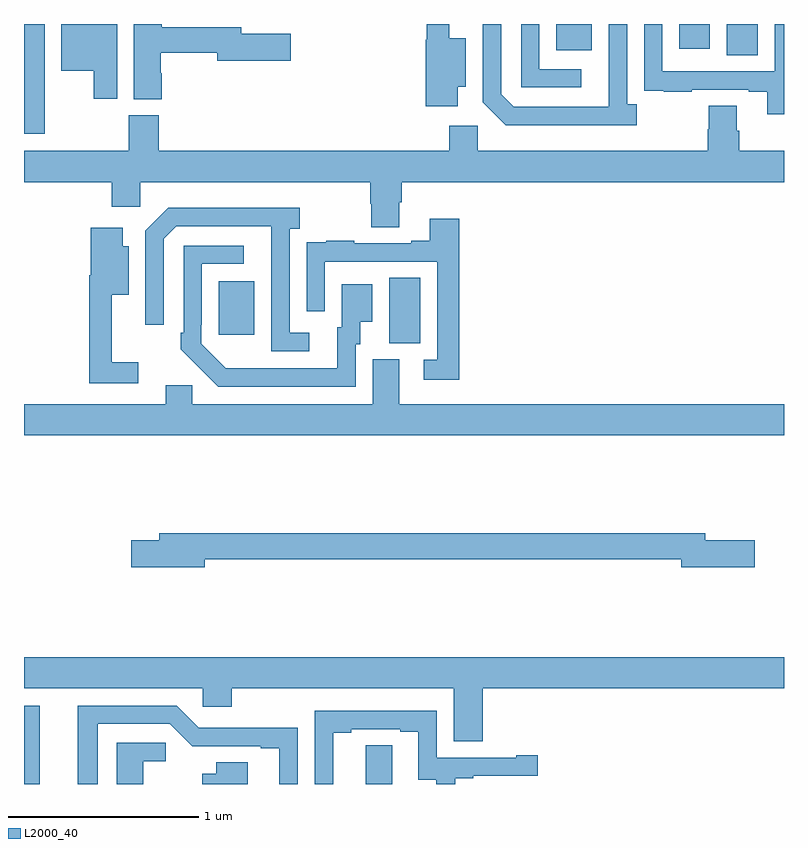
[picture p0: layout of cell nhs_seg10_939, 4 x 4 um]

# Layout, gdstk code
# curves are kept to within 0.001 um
import gdstk
lib = gdstk.Library(unit=1e-6, precision=1e-09)
def R(c, l, rs):  # rectangles x0, y0, x1, y1
    for r in rs: c.add(gdstk.rectangle(r[:2], r[2:], *l))
def P(c, l, *ps):  # polygons
    for p in ps: c.add(gdstk.Polygon(p, *l))
L2000_40 = (2000, 40)

nhs_seg10_939 = lib.new_cell('nhs_seg10_939')
R(nhs_seg10_939, L2000_40, [(159,1278.5,159.082,1278.912), (160.922,1280.821,161.086,1281.164), (160.025,1280.865,160.213,1281.145), (159,1281.923,159.109,1282.5), (162.698,1282.336,162.862,1282.5), (161.801,1282.361,161.989,1282.5), (162.449,1282.371,162.61,1282.5)])
P(nhs_seg10_939, L2000_40, [(162.226,1282.078),(162.174,1282.078),(162.174,1282.5),(162.078,1282.5),(162.077,1282.065),(161.577,1282.065),(161.511,1282.131),(161.511,1282.5),(161.415,1282.5),(161.415,1282.089),(161.536,1281.968),(162.226,1281.968)],
  [(161.932,1282.263),(161.712,1282.263),(161.712,1282.5),(161.616,1282.5),(161.616,1282.167),(161.932,1282.167)],
  [(163,1282.5),(162.951,1282.5),(162.951,1282.251),(162.36,1282.251),(162.36,1282.5),(162.264,1282.5),(162.264,1282.258),(162.265,1282.258),(162.265,1282.149),(162.367,1282.149),(162.367,1282.143),(162.515,1282.143),(162.515,1282.155),(162.815,1282.155),(162.815,1282.143),(162.911,1282.143),(162.911,1282.026),(163,1282.026)],
  [(161.284,1282.169),(161.326,1282.169),(161.326,1282.426),(161.237,1282.426),(161.237,1282.5),(161.119,1282.5),(161.119,1282.416),(161.114,1282.416),(161.114,1282.068),(161.284,1282.068)],
  [(159.49,1282.5),(159.197,1282.5),(159.197,1282.253),(159.368,1282.253),(159.368,1282.107),(159.49,1282.107)],
  [(159.725,1282.241),(159.72,1282.241),(159.72,1282.348),(160.016,1282.348),(160.016,1282.306),(160.405,1282.306),(160.405,1282.448),(160.144,1282.448),(160.144,1282.484),(159.725,1282.484),(159.725,1282.5),(159.578,1282.5),(159.578,1282.105),(159.725,1282.105)],
  [(163,1281.832),(162.764,1281.832),(162.764,1281.938),(162.751,1281.938),(162.751,1282.07),(162.604,1282.07),(162.604,1281.945),(162.599,1281.945),(162.599,1281.832),(161.388,1281.832),(161.388,1281.964),(161.237,1281.964),(161.237,1281.832),(159.71,1281.832),(159.71,1282.02),(159.55,1282.02),(159.55,1281.832),(159,1281.832),(159,1281.668),(159.461,1281.668),(159.461,1281.537),(159.612,1281.537),(159.612,1281.668),(160.823,1281.668),(160.823,1281.555),(160.828,1281.555),(160.828,1281.43),(160.975,1281.43),(160.975,1281.562),(160.988,1281.562),(160.988,1281.668),(163,1281.668)],
  [(160.501,1280.874),(160.398,1280.874),(160.398,1281.422),(160.45,1281.422),(160.45,1281.532),(159.76,1281.532),(159.639,1281.411),(159.639,1280.916),(159.735,1280.916),(159.735,1281.369),(159.801,1281.435),(160.302,1281.435),(160.302,1280.778),(160.501,1280.778)],
  [(161.291,1281.475),(161.135,1281.475),(161.135,1281.358),(161.039,1281.358),(161.039,1281.345),(160.739,1281.345),(160.739,1281.358),(160.591,1281.358),(160.591,1281.351),(160.489,1281.351),(160.489,1281.242),(160.488,1281.242),(160.488,1280.988),(160.584,1280.988),(160.584,1281.249),(161.175,1281.249),(161.175,1280.733),(161.103,1280.733),(161.103,1280.628),(161.291,1280.628)],
  [(159.601,1280.719),(159.461,1280.719),(159.461,1281.074),(159.55,1281.074),(159.55,1281.331),(159.52,1281.331),(159.52,1281.427),(159.35,1281.427),(159.35,1281.178),(159.343,1281.178),(159.343,1280.61),(159.601,1280.61)],
  [(160.746,1280.814),(160.771,1280.814),(160.771,1280.933),(160.834,1280.933),(160.834,1281.13),(160.673,1281.13),(160.673,1280.904),(160.649,1280.904),(160.649,1280.688),(160.062,1280.689),(159.933,1280.817),(159.933,1280.917),(159.936,1280.917),(159.936,1281.237),(160.156,1281.237),(160.156,1281.333),(159.84,1281.333),(159.84,1280.875),(159.825,1280.875),(159.825,1280.787),(160.022,1280.592),(160.746,1280.592)],
  [(163,1280.5),(160.975,1280.5),(160.975,1280.736),(160.835,1280.736),(160.835,1280.5),(159.885,1280.5),(159.885,1280.598),(159.746,1280.598),(159.746,1280.5),(159,1280.5),(159,1280.336),(163,1280.336)],
  [(159.952,1279.684),(162.458,1279.684),(162.458,1279.642),(162.847,1279.642),(162.847,1279.784),(162.586,1279.784),(162.586,1279.82),(159.713,1279.82),(159.713,1279.784),(159.564,1279.784),(159.564,1279.642),(159.952,1279.642)],
  [(159,1279.004),(159.942,1279.004),(159.942,1278.906),(160.094,1278.906),(160.094,1279.004),(161.261,1279.004),(161.261,1278.724),(161.414,1278.724),(161.414,1279.004),(163,1279.004),(163,1279.168),(159,1279.168)],
  [(159.388,1278.816),(159.768,1278.816),(159.886,1278.698),(160.247,1278.699),(160.247,1278.687),(160.343,1278.687),(160.343,1278.5),(160.44,1278.5),(160.44,1278.797),(160.177,1278.797),(160.177,1278.795),(159.921,1278.795),(159.804,1278.912),(159.284,1278.912),(159.284,1278.5),(159.388,1278.5)],
  [(160.627,1278.769),(160.723,1278.769),(160.723,1278.789),(160.979,1278.789),(160.979,1278.774),(161.075,1278.774),(161.075,1278.523),(161.17,1278.523),(161.17,1278.5),(161.27,1278.5),(161.27,1278.531),(161.365,1278.531),(161.365,1278.543),(161.704,1278.543),(161.704,1278.652),(161.591,1278.652),(161.591,1278.639),(161.172,1278.639),(161.172,1278.885),(160.53,1278.885),(160.53,1278.5),(160.627,1278.5)],
  [(159.628,1278.62),(159.745,1278.62),(159.745,1278.717),(159.488,1278.717),(159.488,1278.5),(159.628,1278.5)],
  [(160.939,1278.596),(160.938,1278.596),(160.938,1278.704),(160.799,1278.704),(160.799,1278.5),(160.939,1278.5)],
  [(160.177,1278.614),(160.013,1278.614),(160.013,1278.553),(159.938,1278.553),(159.938,1278.5),(160.177,1278.5)])

lib.write_gds('nhs_seg10_939.gds')
